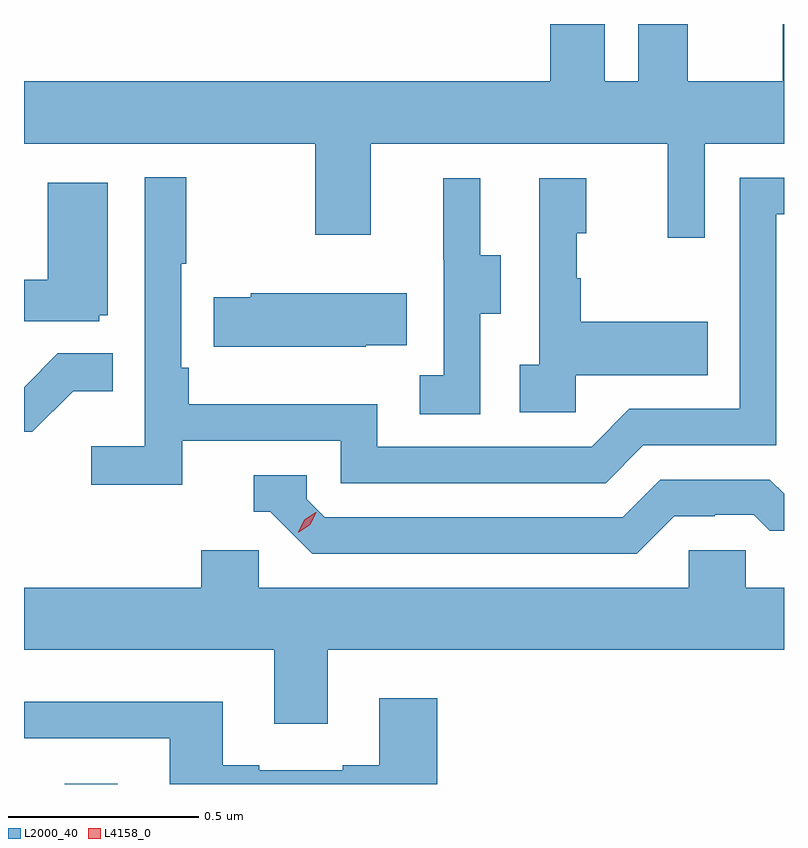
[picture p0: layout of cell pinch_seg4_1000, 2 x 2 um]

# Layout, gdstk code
import gdstk
lib = gdstk.Library(unit=1e-6, precision=1e-09)
def R(c, l, rs):  # rectangles x0, y0, x1, y1
    for r in rs: c.add(gdstk.rectangle(r[:2], r[2:], *l))
def P(c, l, *ps):  # polygons
    for p in ps: c.add(gdstk.Polygon(p, *l))
L2000_40 = (2000, 40)
L4158_0 = (4158, 0)

pinch_seg4_1000 = lib.new_cell('pinch_seg4_1000')
R(pinch_seg4_1000, L2000_40, [(890.663,772.491,890.803,772.492)])
P(pinch_seg4_1000, L2000_40, [(892.347,774.176),(892.556,774.176),(892.556,774.491),(892.553,774.491),(892.553,774.34),(892.303,774.34),(892.303,774.491),(892.172,774.491),(892.172,774.34),(892.084,774.34),(892.084,774.491),(891.941,774.491),(891.941,774.34),(890.556,774.34),(890.556,774.176),(891.322,774.176),(891.322,773.937),(891.469,773.937),(891.469,774.176),(892.25,774.176),(892.25,773.928),(892.347,773.928)],
  [(890.972,773.394),(891.39,773.394),(891.39,773.283),(892.087,773.283),(892.186,773.382),(892.536,773.382),(892.536,773.991),(892.556,773.991),(892.556,774.087),(892.44,774.087),(892.44,773.478),(892.149,773.478),(892.05,773.379),(891.486,773.379),(891.486,773.491),(890.99,773.491),(890.99,773.587),(890.97,773.587),(890.97,773.86),(890.983,773.86),(890.983,774.088),(890.874,774.088),(890.874,773.38),(890.733,773.38),(890.733,773.278),(890.972,773.278)],
  [(891.756,773.728),(891.811,773.728),(891.811,773.883),(891.757,773.883),(891.757,774.085),(891.659,774.085),(891.659,773.871),(891.66,773.871),(891.66,773.567),(891.597,773.567),(891.597,773.464),(891.756,773.464)],
  [(892.008,773.567),(892.355,773.567),(892.355,773.707),(892.021,773.707),(892.021,773.822),(892.011,773.822),(892.011,773.94),(892.036,773.94),(892.036,774.085),(891.912,774.085),(891.912,773.594),(891.861,773.594),(891.861,773.469),(892.008,773.469)],
  [(890.754,773.724),(890.776,773.724),(890.776,774.073),(890.618,774.073),(890.618,773.818),(890.556,773.818),(890.556,773.709),(890.754,773.709)],
  [(891.455,773.645),(891.563,773.645),(891.563,773.782),(891.153,773.782),(891.153,773.772),(891.055,773.772),(891.055,773.642),(891.455,773.642)],
  [(890.685,773.525),(890.789,773.525),(890.789,773.624),(890.645,773.624),(890.556,773.535),(890.556,773.418),(890.578,773.418)],
  [(892.267,773.196),(892.374,773.196),(892.374,773.199),(892.477,773.199),(892.519,773.157),(892.556,773.157),(892.556,773.255),(892.519,773.292),(892.23,773.292),(892.131,773.193),(891.348,773.193),(891.3,773.241),(891.3,773.304),(891.161,773.304),(891.161,773.208),(891.204,773.208),(891.315,773.097),(892.168,773.097)],
  [(891.355,772.844),(892.556,772.844),(892.556,773.008),(892.455,773.008),(892.455,773.106),(892.305,773.106),(892.305,773.008),(891.174,773.008),(891.174,773.106),(891.023,773.106),(891.023,773.008),(890.556,773.008),(890.556,772.844),(891.215,772.844),(891.215,772.65),(891.355,772.65)],
  [(891.644,772.717),(891.491,772.717),(891.491,772.54),(891.395,772.54),(891.395,772.527),(891.175,772.527),(891.175,772.54),(891.079,772.54),(891.079,772.708),(890.556,772.708),(890.556,772.611),(890.939,772.611),(890.939,772.491),(891.644,772.491)])
P(pinch_seg4_1000, L4158_0, [(891.278,773.154),(891.278,773.154),(891.294,773.186),(891.324,773.206),(891.325,773.206),(891.325,773.206),(891.309,773.173),(891.279,773.154)])

lib.write_gds('pinch_seg4_1000.gds')
